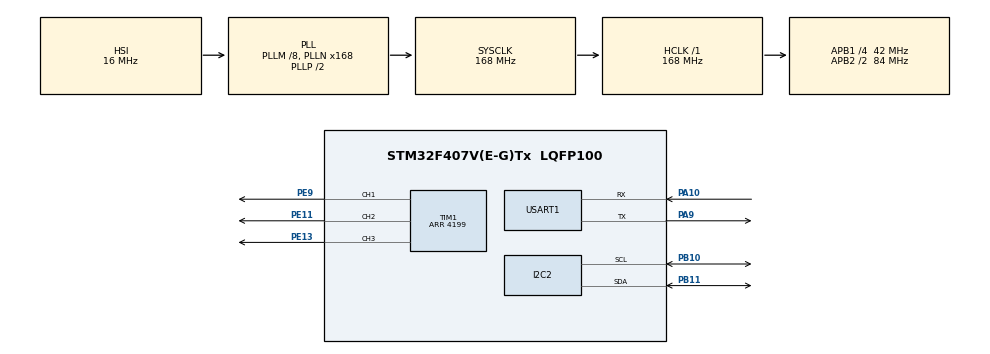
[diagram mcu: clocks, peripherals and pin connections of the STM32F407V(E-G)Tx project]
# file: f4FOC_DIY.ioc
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I2C2.I2C_Mode=I2C_Fast
Mcu.Family=STM32F4
Mcu.Name=STM32F407V(E-G)Tx
Mcu.Package=LQFP100
NVIC.PriorityGroup=NVIC_PRIORITYGROUP_4
PA10.Mode=Asynchronous
PA10.Signal=USART1_RX
PA13.Mode=Serial_Wire
PA13.Signal=SYS_JTMS-SWDIO
PA14.Mode=Serial_Wire
PA14.Signal=SYS_JTCK-SWCLK
PA9.Mode=Asynchronous
PA9.Signal=USART1_TX
PB10.Mode=I2C
PB10.Signal=I2C2_SCL
PB11.Mode=I2C
PB11.Signal=I2C2_SDA
PE11.Signal=S_TIM1_CH2
PE13.Signal=S_TIM1_CH3
PE9.Signal=S_TIM1_CH1
PH0-OSC_IN.Mode=HSE-External-Oscillator
PH0-OSC_IN.Signal=RCC_OSC_IN
PH1-OSC_OUT.Mode=HSE-External-Oscillator
PH1-OSC_OUT.Signal=RCC_OSC_OUT
ProjectManager.HeapSize=0x200
ProjectManager.StackSize=0x400
ProjectManager.TargetToolchain=MDK-ARM V5.32
RCC.48MHZClocksFreq_Value=84000000
RCC.AHBFreq_Value=168000000
RCC.APB1CLKDivider=RCC_HCLK_DIV4
RCC.APB1Freq_Value=42000000
RCC.APB1TimFreq_Value=84000000
RCC.APB2CLKDivider=RCC_HCLK_DIV2
RCC.APB2Freq_Value=84000000
RCC.APB2TimFreq_Value=168000000
RCC.CortexFreq_Value=168000000
RCC.HCLKFreq_Value=168000000
RCC.HSE_VALUE=25000000
RCC.HSI_VALUE=16000000
RCC.LSE_VALUE=32768
RCC.PLLM=8
RCC.PLLN=168
RCC.SYSCLKFreq_VALUE=168000000
RCC.SYSCLKSource=RCC_SYSCLKSOURCE_PLLCLK
RCC.VCOOutputFreq_Value=336000000
SH.S_TIM1_CH1.0=TIM1_CH1,PWM Generation1 CH1
SH.S_TIM1_CH2.0=TIM1_CH2,PWM Generation2 CH2
SH.S_TIM1_CH3.0=TIM1_CH3,PWM Generation3 CH3
TIM1.AutoReloadPreload=TIM_AUTORELOAD_PRELOAD_ENABLE
TIM1.Channel-PWM\ Generation1\ CH1=TIM_CHANNEL_1
TIM1.Channel-PWM\ Generation2\ CH2=TIM_CHANNEL_2
TIM1.Channel-PWM\ Generation3\ CH3=TIM_CHANNEL_3
TIM1.CounterMode=TIM_COUNTERMODE_CENTERALIGNED1
TIM1.Period=4199
USART1.VirtualMode=VM_ASYNC
VP_TIM1_VS_ClockSourceINT.Mode=Internal
board=custom

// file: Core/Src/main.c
/* USER CODE BEGIN Header */
/**
  ******************************************************************************
  * @file           : main.c
  * @brief          : Main program body
  ******************************************************************************
  * @attention
  *
  * Copyright (c) 2026 STMicroelectronics.
  * All rights reserved.
  *
  * This software is licensed under terms that can be found in the LICENSE file
  * in the root directory of this software component.
  * If no LICENSE file comes with this software, it is provided AS-IS.
  *
  ******************************************************************************
  */
/* USER CODE END Header */
#include "main.h"
#include "i2c.h"
#include "tim.h"
#include "usart.h"
#include "gpio.h"

/* USER CODE BEGIN Includes */
#include <math.h>
#include <string.h>
/* USER CODE END Includes */

/* USER CODE BEGIN PTD */
// ??????
typedef enum {
    FOC_MODE_OPEN_LOOP,
    FOC_MODE_TORQUE,   // ??/????
    FOC_MODE_VELOCITY, // ????
    FOC_MODE_ANGLE     // ????
} FOC_ControlMode_e;

// PID ?????
typedef struct {
    float kp;
    float ki;
    float kd;
    float sum_max;    // ????
    float output_max; // ????
} PID_Param_t;

// PID ???????
typedef struct {
    float err;      // ????
    float err_last; // ????
    float sum;      // ????
    float output;   // PID??
} PID_State_t;

// ?????? (??????I2C/SPI??????)
typedef struct {
    float angle_raw;        // ?????? (0 ~ 2PI)
    float angle_consequent; // ??????
    float velocity;         // ????
    float full_rotations;   // ??
} Encoder_t;

// PWM ????????
typedef struct {
    TIM_HandleTypeDef *tim1;
    TIM_HandleTypeDef *tim2;
    TIM_HandleTypeDef *tim3;
    uint32_t PIN1; // Channel 1
    uint32_t PIN2; // Channel 2
    uint32_t PIN3; // Channel 3
} FOC_PWM_Handle_t;

// FOC ????
typedef struct {
    // ????
    TIM_HandleTypeDef *tim; // ?????? (??????)
    FOC_PWM_Handle_t PWMPin;

    // ????
    int dir;             // ?? (1 ? -1)
    int pp;              // ???
    float voltage_ps;    // ???? Power Supply
    float voltage_limit; // ????
    float zero_electric_angle; // ??????

    // ????
    float electrical_angle; // ?????

    // Park/Clark ??????
    float u_alpha;
    float u_beta;
    float u_a;
    float u_b;
    float u_c;

    // ???? (???????)
    float I_a;
    float I_b;
    float I_alpha;
    float I_beta;
    float I_q; // ????
    float I_d; // ????

    // ???
    FOC_ControlMode_e mode;
    float target_value;     // ????? (??or??or??)

    // PID ??
    PID_State_t pid_vel;    // ???PID
    PID_Param_t param_vel;

    PID_State_t pid_pos;    // ???PID
    PID_Param_t param_pos;

    // ????? (??????????)
    Encoder_t encoder;

} FOC_t;
FOC_t motor1;
/* USER CODE END PTD */

/* USER CODE BEGIN PD */
#define _constrain(amt,low,high) ((amt)<(low)?(low):((amt)>(high)?(high):(amt)))
#define PI 3.14159265358979323846f
/* USER CODE END PD */

/* USER CODE BEGIN PV */
float voltage_power_supply=12.6;
float shaft_angle=0,open_loop_timestamp=0;
float zero_electric_angle=0,Ualpha,Ubeta=0,Ua=0,Ub=0,Uc=0,dc_a=0,dc_b=0,dc_c=0;
/* USER CODE END PV */

void SystemClock_Config(void);

/* USER CODE BEGIN 0 */
void motor_init(void)
{
    // 初始化电机参数
    motor1.voltage_ps = voltage_power_supply;
    motor1.dir = 1;
    motor1.pp = 7; // 假设极对数为7
    motor1.zero_electric_angle = zero_electric_angle;
}
//求解电角度
float _electricalAngle(float shaft_angle, int pole_pairs) {
  return (shaft_angle * pole_pairs);
}
//角度归一化到0~2PI
float _normalizeAngle(float angle){
  float a = fmod(angle, 2*PI);   //取余运算可以用于归一化，列出特殊值例子算便知
  return a >= 0 ? a : (a + 2*PI);
}
void setPwm(float Ua, float Ub, float Uc) {

  // 计算占空比
  // 限制占空比从0到1
  dc_a = _constrain(Ua / voltage_power_supply, 0.0f , 1.0f );
  dc_b = _constrain(Ub / voltage_power_supply, 0.0f , 1.0f );
  dc_c = _constrain(Uc / voltage_power_supply, 0.0f , 1.0f );

  //写入PWM到PWM 0 1 2 通道
  (0, dc_a*4199);
  ledcWrite(1, dc_b*4199);
  ledcWrite(2, dc_c*4199);
}
//核心变换
void setPhaseVoltage(float Uq,float Ud, float angle_el) {
  angle_el = _normalizeAngle(angle_el + zero_electric_angle);
  // 帕克逆变换
  Ualpha =  -Uq*sin(angle_el);
  Ubeta =   Uq*cos(angle_el);

  // 克拉克逆变换
  Ua = Ualpha + voltage_power_supply/2;
  Ub = (sqrt(3)*Ubeta-Ualpha)/2 + voltage_power_supply/2;
  Uc = (-Ualpha-sqrt(3)*Ubeta)/2 + voltage_power_supply/2;
  setPwm(Ua,Ub,Uc);
}
float velocityOpenloop(float target_velocity){
  unsigned long now_us = HAL_GetTick();  //获取从开启芯片以来的微秒数，它的精度是 4 微秒。 micros() 返回的是一个无符号长整型（unsigned long）的值

  //计算当前每个Loop的运行时间间隔
  float Ts = (now_us - open_loop_timestamp) * 1e-6f;

  //由于 micros() 函数返回的时间戳会在大约 70 分钟之后重新开始计数，在由70分钟跳变到0时，TS会出现异常，因此需要进行修正。如果时间间隔小于等于零或大于 0.5 秒，则将其设置为一个较小的默认值，即 1e-3f
  if(Ts <= 0 || Ts > 0.5f) Ts = 1e-3f;

  // 通过乘以时间间隔和目标速度来计算需要转动的机械角度，存储在 shaft_angle 变量中。在此之前，还需要对轴角度进行归一化，以确保其值在 0 到 2π 之间。
  shaft_angle = _normalizeAngle(shaft_angle + target_velocity*Ts);
  //以目标速度为 10 rad/s 为例，如果时间间隔是 1 秒，则在每个循环中需要增加 10 * 1 = 10 弧度的角度变化量，才能使电机转动到目标速度。
  //如果时间间隔是 0.1 秒，那么在每个循环中需要增加的角度变化量就是 10 * 0.1 = 1 弧度，才能实现相同的目标速度。因此，电机轴的转动角度取决于目标速度和时间间隔的乘积。

  // 使用早前设置的voltage_power_supply的1/3作为Uq值，这个值会直接影响输出力矩
  // 最大只能设置为Uq = voltage_power_supply/2，否则ua,ub,uc会超出供电电压限幅
  float Uq = voltage_power_supply/3;

  setPhaseVoltage(Uq,  0, _electricalAngle(shaft_angle, 7));

  open_loop_timestamp = now_us;  //用于计算下一个时间间隔

  return Uq;
}
/* USER CODE END 0 */

int main(void)
{

  /* MCU Configuration--------------------------------------------------------*/

  /* Reset of all peripherals, Initializes the Flash interface and the Systick. */
  HAL_Init();

  /* Configure the system clock */
  SystemClock_Config();

  /* Initialize all configured peripherals */
  MX_GPIO_Init();
  MX_I2C2_Init();
  MX_TIM1_Init();
  MX_USART1_UART_Init();
  /* USER CODE BEGIN 2 */
  HAL_TIM_PWM_Start(motor1.PWMPin.tim1, motor1.PWMPin.PIN1);
  HAL_TIM_PWM_Start(motor1.PWMPin.tim2, motor1.PWMPin.PIN2);
  HAL_TIM_PWM_Start(motor1.PWMPin.tim3, motor1.PWMPin.PIN3);
  /* USER CODE END 2 */

  /* Infinite loop */
  /* USER CODE BEGIN WHILE */

  while (1)
  {
    velocityOpenloop(5);
    /* USER CODE END WHILE */

  }
}

void SystemClock_Config(void)
{
  RCC_OscInitTypeDef RCC_OscInitStruct = {0};
  RCC_ClkInitTypeDef RCC_ClkInitStruct = {0};

  /** Configure the main internal regulator output voltage
  */
  __HAL_RCC_PWR_CLK_ENABLE();
  __HAL_PWR_VOLTAGESCALING_CONFIG(PWR_REGULATOR_VOLTAGE_SCALE1);

  /** Initializes the RCC Oscillators according to the specified parameters
  * in the RCC_OscInitTypeDef structure.
  */
  RCC_OscInitStruct.OscillatorType = RCC_OSCILLATORTYPE_HSI;
  RCC_OscInitStruct.HSIState = RCC_HSI_ON;
  RCC_OscInitStruct.HSICalibrationValue = RCC_HSICALIBRATION_DEFAULT;
  RCC_OscInitStruct.PLL.PLLState = RCC_PLL_ON;
  RCC_OscInitStruct.PLL.PLLSource = RCC_PLLSOURCE_HSI;
  RCC_OscInitStruct.PLL.PLLM = 8;
  RCC_OscInitStruct.PLL.PLLN = 168;
  RCC_OscInitStruct.PLL.PLLP = RCC_PLLP_DIV2;
  RCC_OscInitStruct.PLL.PLLQ = 4;
  if (HAL_RCC_OscConfig(&RCC_OscInitStruct) != HAL_OK)
  {
    Error_Handler();
  }

  /** Initializes the CPU, AHB and APB buses clocks
  */
  RCC_ClkInitStruct.ClockType = RCC_CLOCKTYPE_HCLK|RCC_CLOCKTYPE_SYSCLK
                              |RCC_CLOCKTYPE_PCLK1|RCC_CLOCKTYPE_PCLK2;
  RCC_ClkInitStruct.SYSCLKSource = RCC_SYSCLKSOURCE_PLLCLK;
  RCC_ClkInitStruct.AHBCLKDivider = RCC_SYSCLK_DIV1;
  RCC_ClkInitStruct.APB1CLKDivider = RCC_HCLK_DIV4;
  RCC_ClkInitStruct.APB2CLKDivider = RCC_HCLK_DIV2;

  if (HAL_RCC_ClockConfig(&RCC_ClkInitStruct, FLASH_LATENCY_5) != HAL_OK)
  {
    Error_Handler();
  }
}

void Error_Handler(void)
{
  __disable_irq();
  while (1)
  {
  }
}
